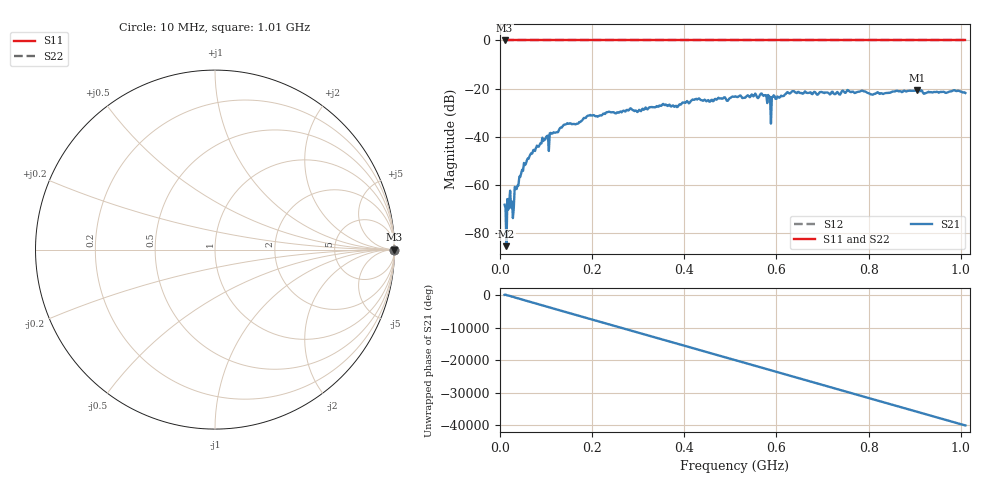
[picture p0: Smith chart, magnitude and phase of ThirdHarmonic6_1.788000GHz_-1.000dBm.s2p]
! 8/16/2025 9:37:42 PM
! C:\ANRITSUVNA\TEMP\TEMP.S2P
! CHANNEL.1
! TR.MEASUREMENT
! RAW.DATA
! RF.CORRECTION.OFF
! AVERAGING.OFF
! IF.BANDWIDTH: 5KHZ
! SWEEPTYPE:  FREQ.SWEEP(Linear)
! Reference Plane Port Info
! PORT:  PORT1  PORT2
! DISTANCE:  0  m  0  m
! TIME:  0  s  0  s
! PHASE.OFFSET:  0  deg.  0  deg.
! LOSS:  0  dB  0  dB
! REF.LOSS:  0  dB  0  dB
! REF.FREQ:  0  Hz  0  Hz
! Power Info
! POWER:  -20  dBm  -20  dBm
! EFF.POWER:  -20  dBm  -20  dBm
! SOURCE.ATTEN:  0  dB  0  dB
! TEST.ATTEN:  0  dB  0  dB
# GHZ S RI R 50.0
! FREQ.GHZ  S11RE  S11IM  S21RE  S21IM  S12RE  S12IM  S22RE  S22IM
!; PortSelection: Port_12
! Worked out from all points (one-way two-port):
!   501 points, 10 MHz to 1.01 GHz, reference 50 ohm
!   highest |S21| = -20.51 dB at 906 MHz (marker M1); lowest = -85.4 dB at 14 MHz (marker M2)
!   lowest |S11| = 0.0 dB at 10 MHz (marker M3)
!   |S11| at or under -10 dB: nowhere
!   |S22| runs from 0.0 to 0.0 dB; largest |S21 - S12| = 1.1
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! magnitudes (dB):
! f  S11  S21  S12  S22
! 10 MHz  0.0  -68.2  0.0  0.0
! 14 MHz  0.0  -85.4  0.0  0.0
! 20 MHz  0.0  -67.1  0.0  0.0
! 28 MHz  0.0  -73.8  0.0  0.0
! 36 MHz  0.0  -61.7  0.0  0.0
! 48 MHz  0.0  -53.7  0.0  0.0
! 70 MHz  0.0  -47.0  0.0  0.0
! 142 MHz  0.0  -34.9  0.0  0.0
! 178 MHz  0.0  -33.2  0.0  0.0
! 194 MHz  0.0  -31.2  0.0  0.0
! 344 MHz  0.0  -27.5  0.0  0.0
! 510 MHz  0.0  -23.2  0.0  0.0
! 570 MHz  0.0  -22.7  0.0  0.0
! 582 MHz  0.0  -22.6  0.0  0.0
! 584 MHz  0.0  -23.4  0.0  0.0
! 592 MHz  0.0  -23.5  0.0  0.0
! 594 MHz  0.0  -22.8  0.0  0.0
! 636 MHz  0.0  -21.0  0.0  0.0
! 678 MHz  0.0  -22.3  0.0  0.0
! 844 MHz  0.0  -21.7  0.0  0.0
! 906 MHz  0.0  -20.5  0.0  0.0
! 1.01 GHz  0.0  -21.8  0.0  0.0
